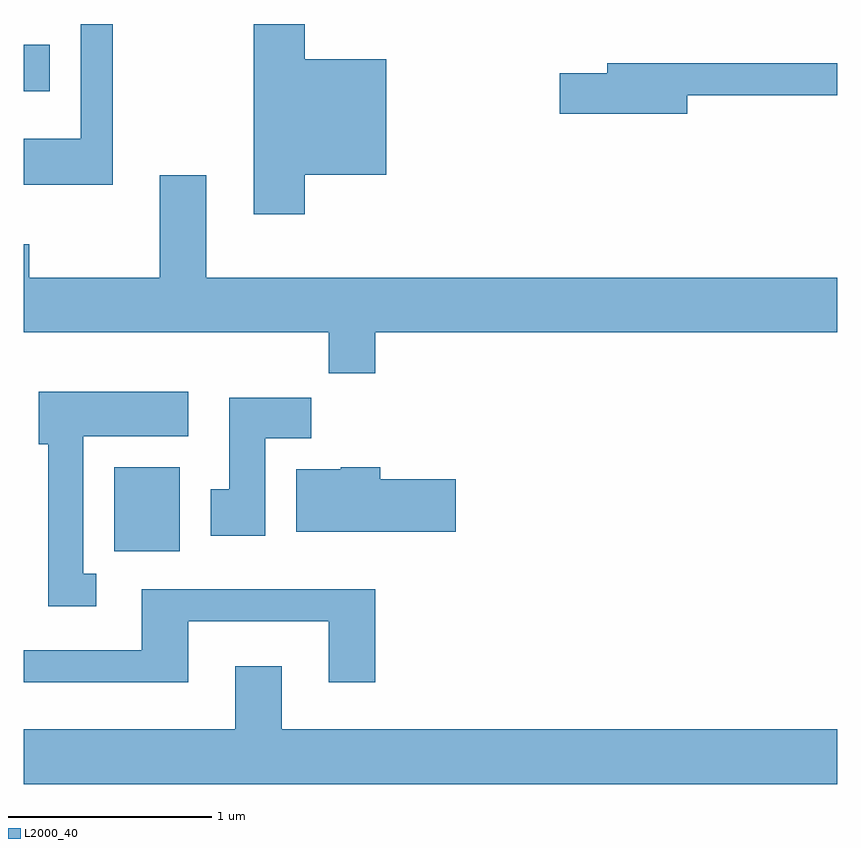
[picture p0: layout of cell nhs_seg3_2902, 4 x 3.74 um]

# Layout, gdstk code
import gdstk
lib = gdstk.Library(unit=1e-6, precision=1e-09)
def R(c, l, rs):  # rectangles x0, y0, x1, y1
    for r in rs: c.add(gdstk.rectangle(r[:2], r[2:], *l))
def P(c, l, *ps):  # polygons
    for p in ps: c.add(gdstk.Polygon(p, *l))
L2000_40 = (2000, 40)

nhs_seg3_2902 = lib.new_cell('nhs_seg3_2902')
R(nhs_seg3_2902, L2000_40, [(270.056,1209.301,270.379,1209.714), (269.611,1211.561,269.739,1211.789)])
P(nhs_seg3_2902, L2000_40, [(270.994,1211.151),(271.394,1211.151),(271.394,1211.719),(270.994,1211.719),(270.994,1211.892),(270.741,1211.892),(270.741,1210.956),(270.994,1210.956)],
  [(270.049,1211.892),(269.891,1211.892),(269.891,1211.329),(269.611,1211.329),(269.611,1211.101),(270.049,1211.101)],
  [(272.874,1211.541),(273.611,1211.541),(273.611,1211.699),(272.481,1211.699),(272.481,1211.649),(272.246,1211.649),(272.246,1211.451),(272.874,1211.451)],
  [(271.339,1210.376),(273.611,1210.376),(273.611,1210.644),(270.509,1210.644),(270.509,1211.149),(270.281,1211.149),(270.281,1210.644),(269.639,1210.644),(269.639,1210.809),(269.611,1210.809),(269.611,1210.376),(271.111,1210.376),(271.111,1210.176),(271.339,1210.176)],
  [(269.968,1209.189),(269.904,1209.189),(269.904,1209.866),(270.419,1209.866),(270.419,1210.084),(269.686,1210.084),(269.686,1209.826),(269.731,1209.826),(269.731,1209.031),(269.968,1209.031)],
  [(270.799,1209.856),(271.024,1209.856),(271.024,1210.054),(270.621,1210.054),(270.621,1209.604),(270.531,1209.604),(270.531,1209.376),(270.799,1209.376)],
  [(271.734,1209.654),(271.364,1209.654),(271.364,1209.714),(271.17,1209.714),(271.17,1209.704),(270.951,1209.704),(270.951,1209.396),(271.734,1209.396)],
  [(270.419,1208.956),(271.111,1208.956),(271.111,1208.656),(271.339,1208.656),(271.339,1209.114),(270.191,1209.114),(270.191,1208.814),(269.611,1208.814),(269.611,1208.656),(270.419,1208.656)],
  [(273.611,1208.424),(270.879,1208.424),(270.879,1208.734),(270.651,1208.734),(270.651,1208.424),(269.611,1208.424),(269.611,1208.156),(273.611,1208.156)])

lib.write_gds('nhs_seg3_2902.gds')
